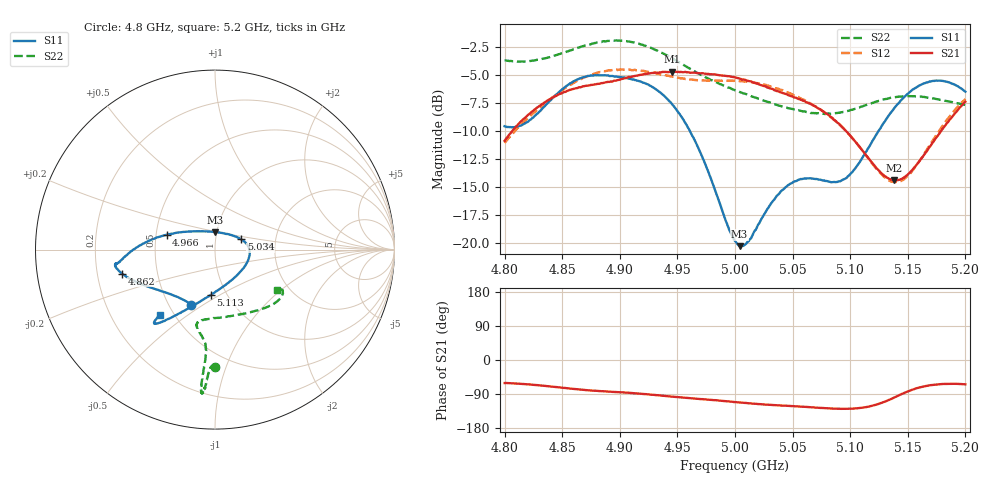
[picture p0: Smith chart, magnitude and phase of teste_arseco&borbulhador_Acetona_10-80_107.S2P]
! Network Analyzer HP8722D
! Hewlett-Packard
! Data name: Linha & Wilkinson
! Saver's name: Rodrigo Anjos
! Comments: Teste da utilização de aquisição
! continua pelo VNA HP8722D
! Time and date: 17/4/2025 15:15
!  Frequency  S11  S21  S12  S22
# HZ  S  MA R 50
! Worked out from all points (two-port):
!   401 points, 4.8 GHz to 5.2 GHz, reference 50 ohm
!   highest |S21| = -4.68 dB at 4.945 GHz (marker M1); lowest = -14.4 dB at 5.138 GHz (marker M2)
!   |S21| within 3 dB of the highest: 4.831 GHz to 5.068 GHz (236.6 MHz wide, 4.78 % of centre); 5.197018 GHz to end of sweep
!   lowest |S11| = -20.3 dB at 5.004 GHz (marker M3), VSWR 1.22, Z = 49.3 + j9.67 ohm
!   |S11| at or under -10 dB: 4.961 GHz to 5.124 GHz (163.3 MHz wide, 3.24 % of centre)
!   |S22| runs from -8.5 to -1.9 dB; largest |S21 - S12| = 0.88
!   S11 on the Smith chart (normalised r, x): 4.8 GHz: 0.65, -0.45; 4.862 GHz: 0.31, -0.11; 4.966 GHz: 0.57, +0.10; 5.034 GHz: 1.33, +0.16; 5.113 GHz: 0.85, -0.46; 5.2 GHz: 0.42, -0.39
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4.8e9  0.3333 -113.2  0.287 -60.8  0.2807 -174.9  0.6559 -89.9
4.819e9  0.347 -133.1  0.3684 -63.8  0.3575 -173.4  0.6498 -91.6
4.862e9  0.5351 -165.6  0.4926 -76.9  0.5276 -176.6  0.7424 -93.7
4.867e9  0.5484 -167.5  0.5001 -78.5  0.5432 -177.8  0.756 -93.9
4.903e9  0.5503 -172.0  0.5431 -85.5  0.5963 175.1  0.801 -95.3
4.934e9  0.4762 -178.0  0.578 -93.5  0.5726 171.9  0.7164 -95.6
4.945e9  0.4207 176.9  0.5835 -96.6  0.5565 172.1  0.6709 -95.4
4.966e9  0.2815 163.0  0.5778 -101.8  0.5355 173.9  0.5811 -94.8
5e9  0.1025 102.5  0.5502 -111.0  0.5331 176.1  0.4824 -99.0
5.004e9  0.09715 88.6  0.5441 -112.0  0.5297 176.2  0.4742 -100.0
5.012e9  0.1024 62.0  0.5299 -114.1  0.5255 176.1  0.4581 -101.7
5.034e9  0.1566 21.5  0.4827 -119.1  0.4962 174.9  0.4173 -103.6
5.05e9  0.1868 4.9  0.4524 -121.8  0.4606 174.2  0.398 -99.4
5.067e9  0.1947 -13.3  0.4151 -124.9  0.4171 173.7  0.3817 -90.7
5.093e9  0.1916 -57.4  0.331 -128.8  0.3296 174.0  0.3847 -70.7
5.113e9  0.2529 -94.9  0.2505 -124.6  0.2504 179.9  0.4132 -55.0
5.134e9  0.3753 -116.1  0.1939 -104.8  0.1904 -157.7  0.4448 -43.0
5.138e9  0.3998 -118.5  0.1909 -99.3  0.1877 -151.5  0.4484 -41.1
5.151e9  0.47 -124.3  0.2054 -81.9  0.2032 -131.2  0.4541 -36.3
5.17e9  0.5284 -128.6  0.2733 -66.3  0.2789 -112.5  0.4454 -31.9
5.184e9  0.5261 -130.0  0.3446 -63.0  0.3561 -107.2  0.4319 -30.9
5.2e9  0.4753 -130.4  0.4287 -64.2  0.441 -106.3  0.4149 -33.2
